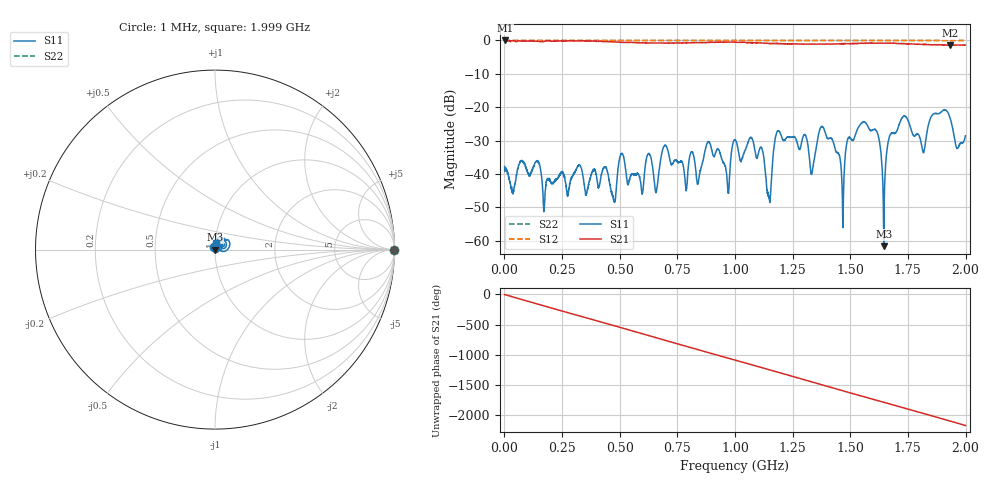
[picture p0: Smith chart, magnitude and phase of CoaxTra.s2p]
! Anritsu VNA Master:  Model: MS2025B
! SN:  1642059
! /bd0/PROE/TP1/CoaxTra.s2p
! Existing Calibration Information:
! TYPE:  Current Settings,  Active Cal Settings
! TIME:  04/16/2024 09:49:30 AM,  03/12/2018 11:45:53 AM
! INTERNAL TEMP:  43.5 C,  40.8 C
! # POINTS:  2857,  4001
! START FREQ:  1.000 MHz,  1.000 MHz
! STOP FREQ:  1.999 486 GHz,  2.800 GHz
! SOURCE POWER:  Default,  Default
! IFBW:  1 kHz,  1 kHz
! AVG FACTOR:  1 ,  1
! REF PLANE 1:  0 mm,  0 mm
! REF PLANE 2:  0 mm,  0 mm
! CAL TYPE:  1P2P S11,S21,  1P2P S11,S21
! CAL METHOD:  SOLT,  SOLT
! CAL LINE TYPE:  Coax,  Coax
! DUT PORT 1:  ,
! DUT PORT 2:  N-Conn(M),  N-Conn(M)
! CAL STATUS:  OK: Accuracy High,  --
# GHZ S MA R 50.0
! FREQ.GHZ  S11M  S11A  S21M  S21A  S12M  S12A  S22M  S22A
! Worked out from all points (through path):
!   2857 points, 1 MHz to 1.999 GHz, reference 50 ohm
!   highest |S21| = -0.01 dB at 2.4 MHz (marker M1); lowest = -1.4 dB at 1.933 GHz (marker M2)
!   group delay of S21, straight-line fit = 3.02 ns
!   lowest |S11| = -61.6 dB at 1.645 GHz (marker M3), VSWR 1.00, Z = 49.9 - j0.0562 ohm
!   |S11| at or under -10 dB: start of sweep to end of sweep
!   |S22| runs from 0.0 to 0.0 dB; largest |S21 - S12| = 2
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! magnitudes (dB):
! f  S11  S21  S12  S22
! 1 MHz  -37.8  -0.1  0.0  0.0
! 2.4 MHz  -38.7  0.0  0.0  0.0
! 334.1 MHz  -38.3  -0.1  0.0  0.0
! 667.2 MHz  -41.5  -0.8  0.0  0.0
! 697.3 MHz  -31.4  -0.8  0.0  0.0
! 841.4 MHz  -42.2  -0.6  0.0  0.0
! 884.8 MHz  -30.3  -0.6  0.0  0.0
! 969.5 MHz  -44.9  -0.5  0.0  0.0
! 1 GHz  -29.8  -0.6  0.0  0.0
! 1.115 GHz  -32.1  -0.8  0.0  0.0
! 1.146 GHz  -46.9  -0.9  0.0  0.0
! 1.187 GHz  -27.0  -0.9  0.0  0.0
! 1.333 GHz  -39.8  -1.1  0.0  0.0
! 1.38 GHz  -25.8  -1.1  0.0  0.0
! 1.468 GHz  -55.6  -0.9  0.0  0.0
! 1.49 GHz  -29.4  -0.9  0.0  0.0
! 1.56 GHz  -24.4  -0.8  0.0  0.0
! 1.618 GHz  -27.8  -0.8  0.0  0.0
! 1.645 GHz  -61.6  -0.8  0.0  0.0
! 1.666 GHz  -29.8  -0.8  0.0  0.0
! 1.933 GHz  -23.2  -1.4  0.0  0.0
! 1.999 GHz  -28.6  -1.4  0.0  0.0
